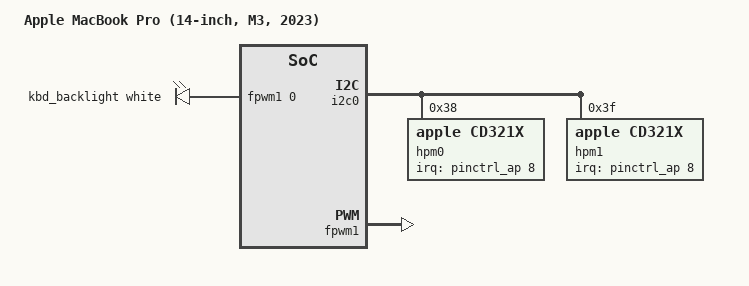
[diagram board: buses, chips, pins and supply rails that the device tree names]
// SPDX-License-Identifier: GPL-2.0+ OR MIT
/*
 * Apple MacBook Pro (14-inch, M3, 2023)
 *
 * target-type: J504
 *
 * Copyright The Asahi Linux Contributors
 */

/dts-v1/;

#include "t8122.dtsi"
#include "t8122-jxxx.dtsi"
#include <dt-bindings/leds/common.h>

/ {
	compatible = "apple,j504", "apple,t8122", "apple,arm-platform";
	model = "Apple MacBook Pro (14-inch, M3, 2023)";

	led-controller {
		compatible = "pwm-leds";
		led-0 {
			pwms = <&fpwm1 0 40000>;
			label = "kbd_backlight";
			function = LED_FUNCTION_KBD_BACKLIGHT;
			color = <LED_COLOR_ID_WHITE>;
			max-brightness = <255>;
			default-state = "keep";
		};
	};
};

&framebuffer0 {
	// panel = &panel;
	power-domains = <&ps_disp_cpu>, <&ps_dptx_ext_phy>;
};

&i2c0 {
	status = "okay";

	hpm0: usb-pd@38 {
		compatible = "apple,cd321x";
		reg = <0x38>;
		interrupt-parent = <&pinctrl_ap>;
		interrupts = <8 IRQ_TYPE_LEVEL_LOW>;
		interrupt-names = "irq";
	};

	hpm1: usb-pd@3f {
		compatible = "apple,cd321x";
		reg = <0x3f>;
		interrupt-parent = <&pinctrl_ap>;
		interrupts = <8 IRQ_TYPE_LEVEL_LOW>;
		interrupt-names = "irq";
	};
};



&fpwm1 {
	status = "okay";
};

